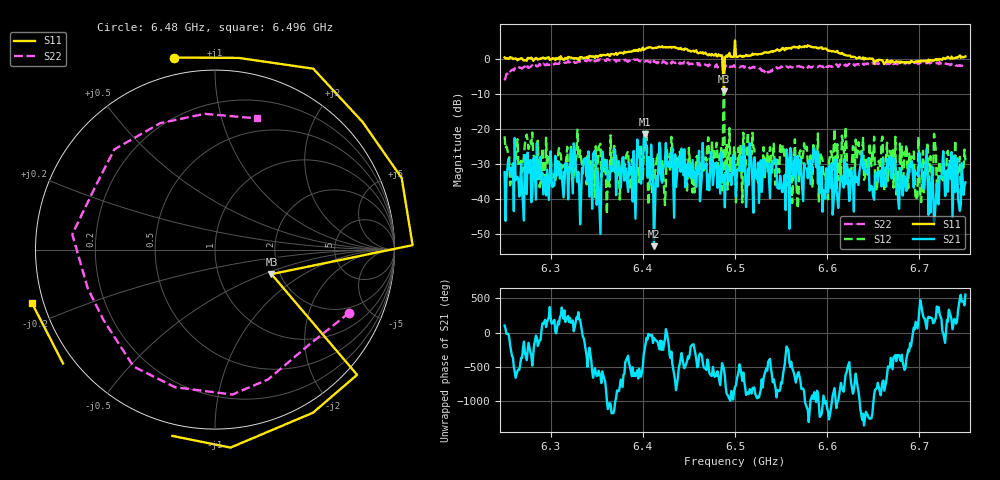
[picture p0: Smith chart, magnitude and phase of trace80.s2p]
# Hz S RI R 50
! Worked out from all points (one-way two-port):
!   401 points, 6.25 GHz to 6.75 GHz, reference 50 ohm
!   highest |S21| = -21.65 dB at 6.402 GHz (marker M1); lowest = -53.5 dB at 6.412 GHz (marker M2)
!   lowest |S11| = -9.3 dB at 6.488 GHz (marker M3), VSWR 2.04, Z = 90.3 - j28 ohm
!   |S11| at or under -10 dB: nowhere
!   |S22| runs from -6.2 to -0.1 dB; largest |S21 - S12| = 0.8
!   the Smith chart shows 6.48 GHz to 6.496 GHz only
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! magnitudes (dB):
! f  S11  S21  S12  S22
! 6.25 GHz  0.3  -32.4  -22.2  -6.2
! 6.259 GHz  -0.1  -29.9  -30.6  -3.1
! 6.269 GHz  0.0  -37.9  -32.4  -2.8
! 6.275 GHz  0.2  -26.8  -23.4  -2.2
! 6.304 GHz  0.0  -36.2  -32.8  -1.6
! 6.334 GHz  0.4  -31.2  -30.8  -0.7
! 6.361 GHz  1.0  -29.0  -44.4  -0.1
! 6.368 GHz  1.2  -32.0  -26.5  -0.4
! 6.39 GHz  2.1  -26.3  -27.1  -0.3
! 6.402 GHz  2.7  -21.7  -25.5  -0.9
! 6.412 GHz  3.0  -53.5  -34.8  -0.7
! 6.418 GHz  3.4  -24.0  -33.0  -0.5
! 6.488 GHz  -9.3  -33.2  -2.2  -2.7
! 6.5 GHz  5.2  -31.9  -25.5  -2.4
! 6.552 GHz  3.0  -38.0  -24.6  -2.8
! 6.56 GHz  3.0  -25.5  -31.5  -2.3
! 6.584 GHz  3.3  -29.4  -36.9  -2.4
! 6.595 GHz  2.7  -43.7  -29.0  -2.2
! 6.668 GHz  -0.8  -28.0  -26.3  -1.5
! 6.719 GHz  -0.5  -35.6  -36.7  -1.3
! 6.725 GHz  -0.3  -30.5  -33.8  -1.7
! 6.75 GHz  0.6  -35.3  -29.1  -1.9
